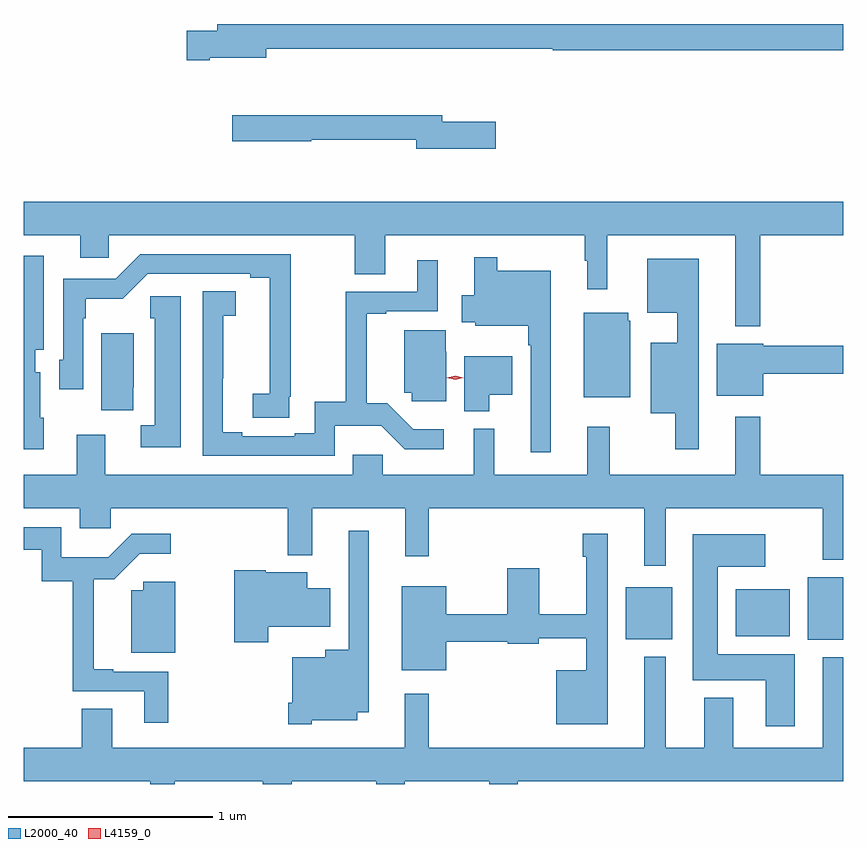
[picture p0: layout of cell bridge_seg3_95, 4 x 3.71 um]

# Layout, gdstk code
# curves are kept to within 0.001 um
import gdstk
lib = gdstk.Library(unit=1e-6, precision=1e-09)
def R(c, l, rs):  # rectangles x0, y0, x1, y1
    for r in rs: c.add(gdstk.rectangle(r[:2], r[2:], *l))
def P(c, l, *ps):  # polygons
    for p in ps: c.add(gdstk.Polygon(p, *l))
L2000_40 = (2000, 40)
L4159_0 = (4159, 0)

bridge_seg3_95 = lib.new_cell('bridge_seg3_95')
R(bridge_seg3_95, L2000_40, [(404.351,730.91,404.525,731.215), (403.463,730.913,403.69,731.167), (404,730.928,404.263,731.158)])
P(bridge_seg3_95, L2000_40, [(401.434,733.751),(401.71,733.751),(401.71,733.794),(403.106,733.794),(403.106,733.786),(404.525,733.786),(404.525,733.915),(401.471,733.915),(401.471,733.881),(401.322,733.881),(401.322,733.739),(401.434,733.739)],
  [(402.829,733.437),(402.568,733.437),(402.568,733.471),(401.544,733.471),(401.544,733.342),(401.928,733.342),(401.928,733.35),(402.44,733.35),(402.44,733.307),(402.829,733.307)],
  [(404.119,732.884),(404.525,732.884),(404.525,733.048),(400.525,733.048),(400.525,732.884),(400.802,732.884),(400.802,732.774),(400.941,732.774),(400.941,732.884),(402.142,732.884),(402.142,732.694),(402.289,732.694),(402.289,732.884),(403.263,732.884),(403.263,732.761),(403.274,732.761),(403.274,732.621),(403.373,732.621),(403.373,732.884),(403.997,732.884),(403.997,732.44),(404.119,732.44)],
  [(401.822,732.097),(401.828,732.097),(401.828,732.792),(401.094,732.792),(400.974,732.672),(400.719,732.672),(400.719,732.276),(400.698,732.276),(400.698,732.132),(400.815,732.132),(400.815,732.479),(400.828,732.479),(400.828,732.575),(401.009,732.575),(401.13,732.696),(401.63,732.696),(401.63,732.676),(401.726,732.676),(401.725,732.11),(401.643,732.11),(401.643,731.995),(401.822,731.995)],
  [(400.624,731.994),(400.606,731.994),(400.606,732.216),(400.582,732.216),(400.582,732.326),(400.624,732.326),(400.624,732.784),(400.525,732.784),(400.525,731.84),(400.624,731.84)],
  [(403.096,732.712),(402.835,732.712),(402.835,732.778),(402.725,732.778),(402.725,732.591),(402.663,732.591),(402.663,732.461),(402.729,732.461),(402.729,732.443),(402.987,732.443),(402.987,732.347),(402.999,732.347),(402.999,731.826),(403.096,731.826)],
  [(403.819,732.769),(403.568,732.769),(403.568,732.506),(403.715,732.506),(403.715,732.361),(403.586,732.361),(403.586,732.017),(403.705,732.017),(403.705,731.841),(403.819,731.841)],
  [(402.042,731.954),(402.271,731.954),(402.384,731.841),(402.574,731.841),(402.574,731.938),(402.425,731.938),(402.299,732.064),(402.2,732.064),(402.2,732.501),(402.295,732.501),(402.295,732.513),(402.545,732.513),(402.545,732.763),(402.446,732.763),(402.446,732.609),(402.097,732.609),(402.097,732.071),(401.946,732.071),(401.946,731.918),(401.849,731.918),(401.849,731.904),(401.593,731.904),(401.593,731.924),(401.497,731.924),(401.497,732.187),(401.499,732.187),(401.499,732.491),(401.56,732.491),(401.56,732.611),(401.4,732.611),(401.4,731.808),(402.042,731.808)],
  [(401.293,732.586),(401.143,732.586),(401.143,732.48),(401.165,732.48),(401.165,731.957),(401.097,731.957),(401.097,731.849),(401.293,731.849)],
  [(403.486,732.468),(403.474,732.468),(403.474,732.505),(403.259,732.505),(403.259,732.095),(403.486,732.095)],
  [(402.586,732.317),(402.585,732.317),(402.585,732.421),(402.383,732.421),(402.383,732.116),(402.42,732.116),(402.42,732.074),(402.586,732.074)],
  [(401.06,732.142),(401.062,732.142),(401.062,732.406),(400.904,732.406),(400.904,732.03),(401.06,732.03)],
  [(404.134,732.208),(404.525,732.208),(404.525,732.344),(404.134,732.344),(404.134,732.355),(403.907,732.355),(403.907,732.101),(404.134,732.101)],
  [(402.796,732.107),(402.91,732.107),(402.91,732.295),(402.674,732.295),(402.674,732.026),(402.796,732.026)],
  [(403.657,731.552),(404.423,731.552),(404.423,731.3),(404.525,731.3),(404.525,731.716),(404.119,731.716),(404.119,731.998),(403.997,731.998),(403.997,731.716),(403.384,731.716),(403.384,731.95),(403.274,731.95),(403.274,731.716),(402.821,731.716),(402.821,731.941),(402.722,731.941),(402.722,731.716),(402.278,731.716),(402.278,731.814),(402.131,731.814),(402.131,731.716),(400.924,731.716),(400.924,731.911),(400.784,731.911),(400.784,731.716),(400.525,731.716),(400.525,731.552),(400.799,731.552),(400.799,731.454),(400.951,731.454),(400.951,731.552),(401.815,731.552),(401.815,731.324),(401.933,731.324),(401.933,731.552),(402.386,731.552),(402.386,731.319),(402.503,731.319),(402.503,731.552),(403.553,731.552),(403.553,731.271),(403.657,731.271)],
  [(401.231,730.755),(400.963,730.755),(400.963,730.768),(400.868,730.768),(400.868,731.205),(400.967,731.205),(401.093,731.33),(401.242,731.33),(401.242,731.427),(401.052,731.427),(400.939,731.314),(400.71,731.314),(400.71,731.46),(400.525,731.46),(400.525,731.35),(400.614,731.35),(400.614,731.197),(400.765,731.197),(400.765,730.659),(401.114,730.659),(401.114,730.506),(401.231,730.506)],
  [(401.931,730.517),(402.154,730.517),(402.154,730.556),(402.208,730.556),(402.208,731.443),(402.111,731.443),(402.111,730.861),(401.996,730.861),(401.996,730.825),(401.837,730.825),(401.837,730.603),(401.816,730.603),(401.816,730.499),(401.931,730.499)],
  [(403.375,731.428),(403.254,731.428),(403.254,731.315),(403.271,731.315),(403.271,731.036),(403.042,731.036),(403.042,731.26),(402.884,731.26),(402.884,731.036),(402.586,731.036),(402.586,731.173),(402.371,731.173),(402.371,730.763),(402.586,730.763),(402.586,730.9),(402.888,730.9),(402.888,730.892),(403.038,730.892),(403.038,730.919),(403.271,730.919),(403.271,730.762),(403.124,730.762),(403.124,730.499),(403.375,730.499)],
  [(404.287,730.84),(403.912,730.84),(403.912,731.267),(404.143,731.267),(404.143,731.425),(403.79,731.425),(403.79,730.712),(404.147,730.712),(404.147,730.488),(404.287,730.488)],
  [(401.718,730.973),(402.022,730.973),(402.022,731.161),(401.908,731.161),(401.908,731.239),(401.706,731.239),(401.706,731.251),(401.552,731.251),(401.552,730.899),(401.718,730.899)],
  [(401.266,731.193),(401.109,731.193),(401.109,731.152),(401.051,731.152),(401.051,730.847),(401.266,730.847)],
  [(401.263,730.22),(401.693,730.22),(401.693,730.207),(401.833,730.207),(401.833,730.22),(402.245,730.22),(402.245,730.207),(402.385,730.207),(402.385,730.22),(402.797,730.22),(402.797,730.207),(402.937,730.207),(402.937,730.22),(404.525,730.22),(404.525,730.825),(404.423,730.825),(404.423,730.384),(403.987,730.384),(403.987,730.627),(403.847,730.627),(403.847,730.384),(403.657,730.384),(403.657,730.828),(403.553,730.828),(403.553,730.384),(402.503,730.384),(402.503,730.648),(402.385,730.648),(402.385,730.384),(400.957,730.384),(400.957,730.574),(400.81,730.574),(400.81,730.384),(400.525,730.384),(400.525,730.22),(401.142,730.22),(401.142,730.207),(401.263,730.207)])
P(bridge_seg3_95, L4159_0, [(402.63,732.179),(402.59,732.19),(402.59,732.19),(402.59,732.19),(402.63,732.199),(402.671,732.188),(402.671,732.188),(402.671,732.188)])

lib.write_gds('bridge_seg3_95.gds')
